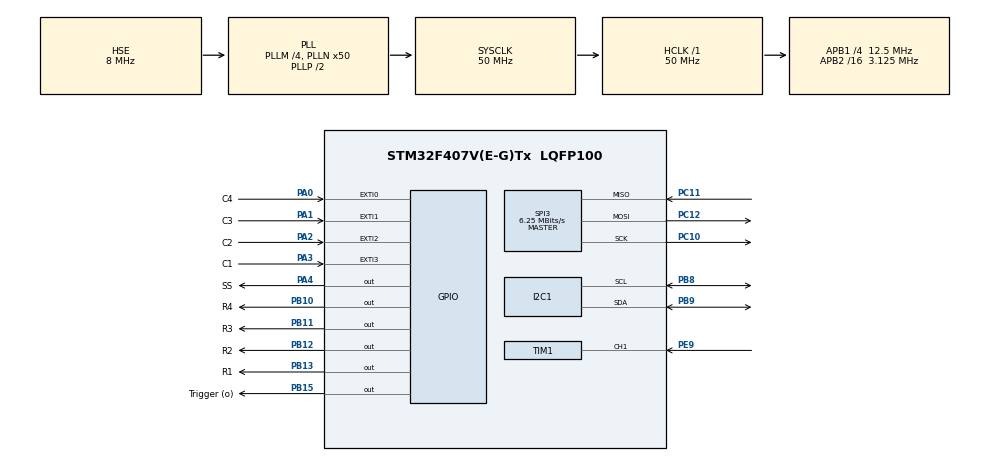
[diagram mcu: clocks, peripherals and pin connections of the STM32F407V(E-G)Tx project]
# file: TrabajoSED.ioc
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ADC1.Channel-0\#ChannelRegularConversion=ADC_CHANNEL_TEMPSENSOR
ADC1.ContinuousConvMode=DISABLE
ADC1.NbrOfConversionFlag=1
ADC1.Rank-0\#ChannelRegularConversion=1
ADC1.Resolution=ADC_RESOLUTION_8B
ADC1.SamplingTime-0\#ChannelRegularConversion=ADC_SAMPLETIME_3CYCLES
ADC1.master=1
Mcu.Family=STM32F4
Mcu.Name=STM32F407V(E-G)Tx
Mcu.Package=LQFP100
NVIC.EXTI0_IRQn=true\:0\:0\:true\:false\:true\:true\:true\:true
NVIC.EXTI1_IRQn=true\:0\:0\:true\:false\:true\:true\:true\:true
NVIC.EXTI2_IRQn=true\:0\:0\:true\:false\:true\:true\:true\:true
NVIC.EXTI3_IRQn=true\:0\:0\:true\:false\:true\:true\:true\:true
NVIC.I2C1_EV_IRQn=true\:0\:0\:false\:false\:true\:true\:true\:true
NVIC.PriorityGroup=NVIC_PRIORITYGROUP_2
NVIC.TIM1_CC_IRQn=true\:0\:0\:false\:false\:true\:true\:true\:true
NVIC.TIM3_IRQn=true\:0\:0\:false\:false\:true\:true\:true\:true
PA0-WKUP.GPIO_Label=C4
PA0-WKUP.GPIO_ModeDefaultEXTI=GPIO_MODE_IT_FALLING
PA0-WKUP.GPIO_PuPd=GPIO_PULLUP
PA0-WKUP.Signal=GPXTI0
PA1.GPIO_Label=C3
PA1.GPIO_ModeDefaultEXTI=GPIO_MODE_IT_FALLING
PA1.GPIO_PuPd=GPIO_PULLUP
PA1.Signal=GPXTI1
PA2.GPIO_Label=C2
PA2.GPIO_ModeDefaultEXTI=GPIO_MODE_IT_FALLING
PA2.GPIO_PuPd=GPIO_PULLUP
PA2.Signal=GPXTI2
PA3.GPIO_Label=C1
PA3.GPIO_ModeDefaultEXTI=GPIO_MODE_IT_FALLING
PA3.GPIO_PuPd=GPIO_PULLUP
PA3.Signal=GPXTI3
PA4.GPIO_Label=SS
PA4.PinState=GPIO_PIN_SET
PA4.Signal=GPIO_Output
PB10.GPIO_Label=R4
PB10.Signal=GPIO_Output
PB11.GPIO_Label=R3
PB11.Signal=GPIO_Output
PB12.GPIO_Label=R2
PB12.Signal=GPIO_Output
PB13.GPIO_Label=R1
PB13.Signal=GPIO_Output
PB15.GPIO_Label=Trigger (o)
PB15.Signal=GPIO_Output
PB8.Mode=I2C
PB8.Signal=I2C1_SCL
PB9.Mode=I2C
PB9.Signal=I2C1_SDA
PC10.Mode=Full_Duplex_Master
PC10.Signal=SPI3_SCK
PC11.Mode=Full_Duplex_Master
PC11.Signal=SPI3_MISO
PC12.Mode=Full_Duplex_Master
PC12.Signal=SPI3_MOSI
PE9.Signal=S_TIM1_CH1
PH0-OSC_IN.Mode=HSE-External-Oscillator
PH0-OSC_IN.Signal=RCC_OSC_IN
PH1-OSC_OUT.Mode=HSE-External-Oscillator
PH1-OSC_OUT.Signal=RCC_OSC_OUT
ProjectManager.HeapSize=0x200
ProjectManager.StackSize=0x400
ProjectManager.TargetToolchain=STM32CubeIDE
RCC.48MHZClocksFreq_Value=14285714.285714285
RCC.AHBFreq_Value=50000000
RCC.APB1CLKDivider=RCC_HCLK_DIV4
RCC.APB1Freq_Value=12500000
RCC.APB1TimFreq_Value=25000000
RCC.APB2CLKDivider=RCC_HCLK_DIV16
RCC.APB2Freq_Value=3125000
RCC.APB2TimFreq_Value=6250000
RCC.CortexFreq_Value=50000000
RCC.HCLKFreq_Value=50000000
RCC.HSE_VALUE=8000000
RCC.HSI_VALUE=16000000
RCC.LSE_VALUE=32768
RCC.PLLM=4
RCC.PLLN=50
RCC.PLLQ=7
RCC.PLLSourceVirtual=RCC_PLLSOURCE_HSE
RCC.SYSCLKFreq_VALUE=50000000
RCC.SYSCLKSource=RCC_SYSCLKSOURCE_PLLCLK
RCC.VCOOutputFreq_Value=100000000
SH.S_TIM1_CH1.0=TIM1_CH1,Input_Capture1_from_TI1
SPI3.CalculateBaudRate=6.25 MBits/s
SPI3.Direction=SPI_DIRECTION_2LINES
SPI3.Mode=SPI_MODE_MASTER
SPI3.VirtualType=VM_MASTER
TIM1.Channel-Input_Capture1_from_TI1=TIM_CHANNEL_1
TIM1.Period=65534
TIM1.Prescaler=6.25-1
TIM3.Period=2999
TIM3.Prescaler=24999
VP_ADC1_TempSens_Input.Mode=IN-TempSens
VP_TIM3_VS_ClockSourceINT.Mode=Internal
board=STM32F407G-DISC1

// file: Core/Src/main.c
/* USER CODE BEGIN Header */

/* USER CODE END Header */
#include "main.h"
#include "adc.h"
#include "i2c.h"
#include "spi.h"
#include "tim.h"
#include "gpio.h"

/* USER CODE BEGIN Includes */
#include <stdio.h>
#include "i2c-lcd.h"
#include "key.h"
#include "hc_sr04.h"
#include "funciones.h"
/* USER CODE END Includes */

/* USER CODE BEGIN PV */

volatile char key = '\0'; // Char que guarda el valor de la tecla pulsada
volatile uint8_t posicion; // Entero sin signo que recoge la posición de la cabina de ascensor (para la planta)
volatile uint8_t destino;  // Entero son signo que recoge el destino de la cabina
volatile uint8_t flag_tiempoTrans = 0; // Flag usado para borrar la tecla tras un tiempo de transmisión
uint8_t distancia = 0; // Entero sin signo que recoge la distancia a la que se encuentra la cabina de ascensor
volatile uint8_t cicloEnvio = 0; // Contador que cambia entre 0 y 1 para enviar los datos alternativamente a la FPGA
uint8_t envioDatos; // Datos que se transmiten a través del SPI
uint32_t ADC_val; // Valor recogido del conversor analógico/digital empleado para obtener la temperatura del sensor de la placa
float temperature; // Float que recoge el valor de la función que devuelve la temperatura correspondiente con el valor obtenido del ADC

extern TIM_HandleTypeDef htim3;

/* USER CODE END PV */

void SystemClock_Config(void);
/* USER CODE BEGIN PFP */
void actualizaInfoSPI (void); // Función que gestiona la lógica de envío de datos a la FPGA
void enviaSPI (void); // Función encargada del envío de los datos gestionados con actualizaInfoSPI
void gestorTemperatura (void); // Función que calcula el valor de la temperatura correspondiente con el valor recogido por el conversor ADC

/* USER CODE END PFP */

/* USER CODE BEGIN 0 */

void HAL_GPIO_EXTI_Callback(uint16_t GPIO_Pin)
{
		interrupt(GPIO_Pin, &htim3); // Llamada a la función interrupt, encargada de gestionar la interrupción. Externalizada por limpieza visual
}

void HAL_TIM_IC_CaptureCallback(TIM_HandleTypeDef *htim)
{
	procesadoTemporizador(htim); // Llamada a procesadoTemporizador, gestiona y externalizada.
}

void HAL_TIM_PeriodElapsedCallback(TIM_HandleTypeDef *htim)
{
	if (htim->Instance == TIM3)
	{
		flag_tiempoTrans = 1; //Pasados los 3 segundos tras llamar a la planta, se deja de enviar
		HAL_TIM_Base_Stop_IT(&htim3); // Para la cuenta
	}
}

void HAL_ADC_ConvCpltCallback(ADC_HandleTypeDef* hadc){
		if(hadc-> Instance == ADC1 )
		{
			ADC_val = HAL_ADC_GetValue(&hadc1); // Obtiene el valor del conversor
			temperature = getTemperature(ADC_val); // Hace la conversión a un valor real
		}
}

/* USER CODE END 0 */

int main(void)
{

  /* MCU Configuration--------------------------------------------------------*/

  /* Reset of all peripherals, Initializes the Flash interface and the Systick. */
  HAL_Init();

  /* Configure the system clock */
  SystemClock_Config();

  /* Initialize all configured peripherals */
  MX_GPIO_Init();
  MX_I2C1_Init();
  MX_TIM1_Init();
  MX_SPI3_Init();
  MX_ADC1_Init();
  MX_TIM3_Init();
  /* USER CODE BEGIN 2 */
  HAL_TIM_IC_Start_IT(&htim1, TIM_CHANNEL_1);
  lcd_init();

  /* USER CODE END 2 */

  /* Infinite loop */
  /* USER CODE BEGIN WHILE */

  while (1)
  {
	  //Gestión sensor temperatura
	  gestorTemperatura();

	  //Gestión de la interrupción. Obtención de tecla pulsada
	  flagTecla(&key);

	  //Obtención posición del ascensor con ultrasonidos
	  HCSR04_Read();
	  HAL_Delay(100);
	  distancia = getDistance();

	  //Codificación de planta para envío
	  posicion = calculaPosicion(distancia);

	  //Codificación de tecla pulsada para envío
	  destino = calculaDestino(&key, &flag_tiempoTrans);

	  //Almacenamiento de la información a transmitir
	  actualizaInfoSPI();

	  //Envío de datos a través del SPI
	  enviaSPI();

	  // Mostrar en el panel LCD la tecla pulsada durante 2s
	  representaPlanta(key,temperature);//Comprobar que para 2s ha sucedido la transmisión y no hay una sobreescritura indeseada de key

    /* USER CODE END WHILE */

}
}

void SystemClock_Config(void)
{
  RCC_OscInitTypeDef RCC_OscInitStruct = {0};
  RCC_ClkInitTypeDef RCC_ClkInitStruct = {0};

  /** Configure the main internal regulator output voltage
  */
  __HAL_RCC_PWR_CLK_ENABLE();
  __HAL_PWR_VOLTAGESCALING_CONFIG(PWR_REGULATOR_VOLTAGE_SCALE1);

  /** Initializes the RCC Oscillators according to the specified parameters
  * in the RCC_OscInitTypeDef structure.
  */
  RCC_OscInitStruct.OscillatorType = RCC_OSCILLATORTYPE_HSE;
  RCC_OscInitStruct.HSEState = RCC_HSE_ON;
  RCC_OscInitStruct.PLL.PLLState = RCC_PLL_ON;
  RCC_OscInitStruct.PLL.PLLSource = RCC_PLLSOURCE_HSE;
  RCC_OscInitStruct.PLL.PLLM = 4;
  RCC_OscInitStruct.PLL.PLLN = 50;
  RCC_OscInitStruct.PLL.PLLP = RCC_PLLP_DIV2;
  RCC_OscInitStruct.PLL.PLLQ = 7;
  if (HAL_RCC_OscConfig(&RCC_OscInitStruct) != HAL_OK)
  {
    Error_Handler();
  }

  /** Initializes the CPU, AHB and APB buses clocks
  */
  RCC_ClkInitStruct.ClockType = RCC_CLOCKTYPE_HCLK|RCC_CLOCKTYPE_SYSCLK
                              |RCC_CLOCKTYPE_PCLK1|RCC_CLOCKTYPE_PCLK2;
  RCC_ClkInitStruct.SYSCLKSource = RCC_SYSCLKSOURCE_PLLCLK;
  RCC_ClkInitStruct.AHBCLKDivider = RCC_SYSCLK_DIV1;
  RCC_ClkInitStruct.APB1CLKDivider = RCC_HCLK_DIV4;
  RCC_ClkInitStruct.APB2CLKDivider = RCC_HCLK_DIV16;

  if (HAL_RCC_ClockConfig(&RCC_ClkInitStruct, FLASH_LATENCY_1) != HAL_OK)
  {
    Error_Handler();
  }
}

/* USER CODE BEGIN 4 */

void actualizaInfoSPI (void)
{
	if (cicloEnvio == 0)
		  {
			  envioDatos = posicion; //Ciclo primero envía el dato de la planta en la que se encuentra el ascensor
			  cicloEnvio++;
		  }
		  else
		  {
			  envioDatos = destino; //Ciclo segundo envía el dato del destino seleccionado
			  cicloEnvio = 0;
		  }
}

void enviaSPI (void)
{
	HAL_GPIO_WritePin(GPIOA, GPIO_PIN_4, GPIO_PIN_RESET); // Se activa la transmisión master-slave

	HAL_SPI_Transmit(&hspi3, &envioDatos, 1, HAL_MAX_DELAY);

	HAL_GPIO_WritePin(GPIOA,GPIO_PIN_4,GPIO_PIN_SET); // Se desactiva la transmisión M-S
}

void gestorTemperatura (void)
{
		  //Activación del ADC
		  HAL_ADC_Start(&hadc1);

		  //Obtener temperatura
		  if (HAL_ADC_PollForConversion(&hadc1, HAL_MAX_DELAY) == HAL_OK)
		  {
			  ADC_val = HAL_ADC_GetValue(&hadc1);
			  temperature = getTemperature(ADC_val);
		  }

		  //Desactivación del ADC
		  HAL_ADC_Stop(&hadc1);
}

/* USER CODE END 4 */

void Error_Handler(void)
{
  __disable_irq();
  while (1)
  {
  }
}
